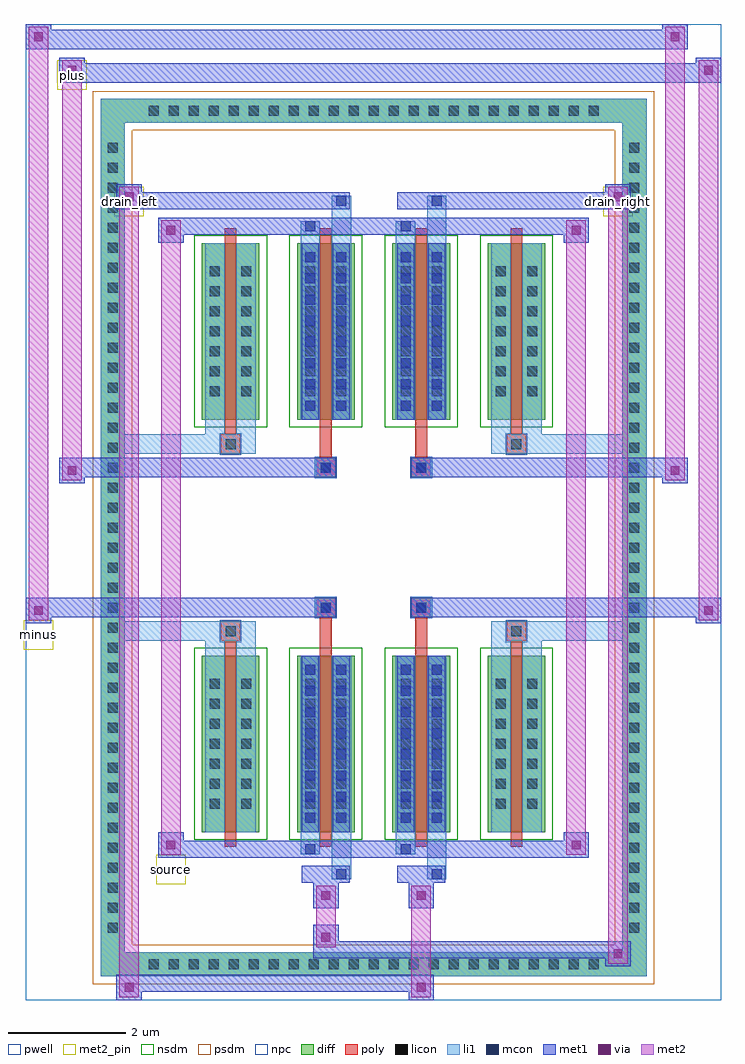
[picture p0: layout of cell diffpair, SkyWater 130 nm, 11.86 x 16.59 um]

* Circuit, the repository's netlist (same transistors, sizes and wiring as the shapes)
* NGSPICE file created from diffpair.ext - technology: sky130A

.subckt diffpair minus drain_right drain_left source plus
X0 drain_right minus source a_n928_n1492# sky130_fd_pr__nfet_01v8 ad=1.17 pd=6.78 as=1.17 ps=6.78 w=3 l=0.2
X1 drain_right minus source a_n928_n1492# sky130_fd_pr__nfet_01v8 ad=1.17 pd=6.78 as=1.17 ps=6.78 w=3 l=0.2
X2 a_n928_n1492# a_n928_n1492# a_n928_n1492# a_n928_n1492# sky130_fd_pr__nfet_01v8 ad=1.17 pd=6.78 as=9.36 ps=54.24 w=3 l=0.2
X3 a_n928_n1492# a_n928_n1492# a_n928_n1492# a_n928_n1492# sky130_fd_pr__nfet_01v8 ad=1.17 pd=6.78 as=0 ps=0 w=3 l=0.2
X4 a_n928_n1492# a_n928_n1492# a_n928_n1492# a_n928_n1492# sky130_fd_pr__nfet_01v8 ad=1.17 pd=6.78 as=0 ps=0 w=3 l=0.2
X5 drain_left plus source a_n928_n1492# sky130_fd_pr__nfet_01v8 ad=1.17 pd=6.78 as=1.17 ps=6.78 w=3 l=0.2
X6 a_n928_n1492# a_n928_n1492# a_n928_n1492# a_n928_n1492# sky130_fd_pr__nfet_01v8 ad=1.17 pd=6.78 as=0 ps=0 w=3 l=0.2
X7 drain_left plus source a_n928_n1492# sky130_fd_pr__nfet_01v8 ad=1.17 pd=6.78 as=1.17 ps=6.78 w=3 l=0.2
.ends

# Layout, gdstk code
import gdstk
lib = gdstk.Library(unit=1e-6, precision=5e-09)
def R(c, l, rs):  # rectangles x0, y0, x1, y1
    for r in rs: c.add(gdstk.rectangle(r[:2], r[2:], *l))
def A(c, l, x, y, w, h, nx, ny, dx, dy):  # array of equal rectangles
    R(c, l, [(x+i*dx, y+j*dy, x+i*dx+w, y+j*dy+h) for i in range(nx) for j in range(ny)])
def P(c, l, *ps):  # polygons
    for p in ps: c.add(gdstk.Polygon(p, *l))
pwell = (64, 44)
diff = (65, 20)
poly = (66, 20)
licon = (66, 44)
li1 = (67, 20)
mcon = (67, 44)
met1 = (68, 20)
via = (68, 44)
met2_pin = (69, 16)
met2 = (69, 20)
nsdm = (93, 44)
psdm = (94, 20)
npc = (95, 20)

diffpair = lib.new_cell('diffpair')
R(diffpair, pwell, [(-5.91,-7.86,5.91,8.73), (-3.23,-6.05,-0.01,-0.825), (0.01,-6.05,3.23,-0.825), (-3.23,0.825,-0.01,6.05), (0.01,0.825,3.23,6.05)])
A(diffpair, diff, -3.945, -7.46, 0.41, 0.41, 23, 2, 0.34, 14.51)
A(diffpair, diff, -4.64, -6.835, 0.41, 0.41, 1, 40, 0, 0.34)
A(diffpair, diff, 4.23, -6.835, 0.41, 0.41, 1, 40, 0, 0.34)
A(diffpair, diff, -2.92, -5.005, 0.98, 3, 4, 2, 1.62, 7.01)
R(diffpair, diff, [(-3.945,-7.46,3.945,-7.05), (-4.64,-6.835,-4.23,6.835), (4.23,-6.835,4.64,6.835), (-3.945,7.05,3.945,7.46)])
P(diffpair, diff, [(4.64,7.46),(-4.64,7.46),(-4.64,-7.05),(-4.23,-7.05),(-4.23,7.05),(4.23,7.05),(4.23,-7.05),(-4.23,-7.05),(-4.64,-7.05),(-4.64,-7.46),(4.64,-7.46)])
A(diffpair, poly, -2.53, -5.255, 0.2, 3.5, 4, 2, 1.62, 7.01)
R(diffpair, poly, [(-2.595,-1.755,-2.265,-1.425), (-2.595,-1.755,-2.265,-1.425), (-0.91,-1.755,-0.71,-1.355), (0.71,-1.755,0.91,-1.355), (2.265,-1.755,2.595,-1.425), (2.265,-1.755,2.595,-1.425), (-0.975,-1.355,-0.645,-1.025), (-0.975,-1.355,-0.645,-1.025), (0.645,-1.355,0.975,-1.025), (0.645,-1.355,0.975,-1.025), (-0.975,1.025,-0.645,1.355), (-0.975,1.025,-0.645,1.355), (0.645,1.025,0.975,1.355), (0.645,1.025,0.975,1.355), (-0.91,1.355,-0.71,1.755), (0.71,1.355,0.91,1.755), (-2.595,1.425,-2.265,1.755), (-2.595,1.425,-2.265,1.755), (2.265,1.425,2.595,1.755), (2.265,1.425,2.595,1.755)])
A(diffpair, licon, -3.825, -7.34, 0.17, 0.17, 23, 2, 0.34, 14.51)
A(diffpair, licon, -4.52, -6.715, 0.17, 0.17, 1, 40, 0, 0.34)
A(diffpair, licon, 4.35, -6.715, 0.17, 0.17, 1, 40, 0, 0.34)
A(diffpair, licon, -2.78, -4.61, 0.17, 0.17, 1, 7, 0, 0.34)
A(diffpair, licon, -2.25, -4.61, 0.17, 0.17, 1, 7, 0, 0.34)
A(diffpair, licon, -1.16, -4.61, 0.17, 0.17, 1, 7, 0, 0.34)
A(diffpair, licon, -0.63, -4.61, 0.17, 0.17, 1, 7, 0, 0.34)
A(diffpair, licon, 0.46, -4.61, 0.17, 0.17, 1, 7, 0, 0.34)
A(diffpair, licon, 0.99, -4.61, 0.17, 0.17, 1, 7, 0, 0.34)
A(diffpair, licon, 2.08, -4.61, 0.17, 0.17, 1, 7, 0, 0.34)
A(diffpair, licon, 2.61, -4.61, 0.17, 0.17, 1, 7, 0, 0.34)
A(diffpair, licon, -2.78, 2.4, 0.17, 0.17, 1, 7, 0, 0.34)
A(diffpair, licon, -2.25, 2.4, 0.17, 0.17, 1, 7, 0, 0.34)
A(diffpair, licon, -1.16, 2.4, 0.17, 0.17, 1, 7, 0, 0.34)
A(diffpair, licon, -0.63, 2.4, 0.17, 0.17, 1, 7, 0, 0.34)
A(diffpair, licon, 0.46, 2.4, 0.17, 0.17, 1, 7, 0, 0.34)
A(diffpair, licon, 0.99, 2.4, 0.17, 0.17, 1, 7, 0, 0.34)
A(diffpair, licon, 2.08, 2.4, 0.17, 0.17, 1, 7, 0, 0.34)
A(diffpair, licon, 2.61, 2.4, 0.17, 0.17, 1, 7, 0, 0.34)
R(diffpair, licon, [(-2.515,-1.675,-2.345,-1.505), (2.345,-1.675,2.515,-1.505), (-0.895,-1.275,-0.725,-1.105), (0.725,-1.275,0.895,-1.105), (-0.895,1.105,-0.725,1.275), (0.725,1.105,0.895,1.275), (-2.515,1.505,-2.345,1.675), (2.345,1.505,2.515,1.675)])
A(diffpair, li1, -3.905, -7.42, 0.33, 0.33, 23, 2, 0.34, 14.51)
A(diffpair, li1, -4.6, -6.795, 0.33, 0.33, 1, 40, 0, 0.34)
A(diffpair, li1, 4.27, -6.795, 0.33, 0.33, 1, 40, 0, 0.34)
A(diffpair, li1, -1.16, -4.85, 0.17, 0.17, 1, 8, 0, 0.36)
A(diffpair, li1, -0.63, -4.85, 0.17, 0.17, 1, 8, 0, 0.36)
A(diffpair, li1, 0.46, -4.85, 0.17, 0.17, 1, 8, 0, 0.36)
A(diffpair, li1, 0.99, -4.85, 0.17, 0.17, 1, 8, 0, 0.36)
A(diffpair, li1, -2.86, -4.69, 0.33, 0.33, 1, 7, 0, 0.34)
A(diffpair, li1, -2.33, -4.69, 0.33, 0.33, 1, 7, 0, 0.34)
A(diffpair, li1, -1.24, -4.69, 0.33, 0.33, 1, 7, 0, 0.34)
A(diffpair, li1, -0.71, -4.69, 0.33, 0.33, 1, 7, 0, 0.34)
A(diffpair, li1, 0.38, -4.69, 0.33, 0.33, 1, 7, 0, 0.34)
A(diffpair, li1, 0.91, -4.69, 0.33, 0.33, 1, 7, 0, 0.34)
A(diffpair, li1, 2, -4.69, 0.33, 0.33, 1, 7, 0, 0.34)
A(diffpair, li1, 2.53, -4.69, 0.33, 0.33, 1, 7, 0, 0.34)
A(diffpair, li1, -1.16, 2.16, 0.17, 0.17, 1, 8, 0, 0.36)
A(diffpair, li1, -0.63, 2.16, 0.17, 0.17, 1, 8, 0, 0.36)
A(diffpair, li1, 0.46, 2.16, 0.17, 0.17, 1, 8, 0, 0.36)
A(diffpair, li1, 0.99, 2.16, 0.17, 0.17, 1, 8, 0, 0.36)
A(diffpair, li1, -2.86, 2.32, 0.33, 0.33, 1, 7, 0, 0.34)
A(diffpair, li1, -2.33, 2.32, 0.33, 0.33, 1, 7, 0, 0.34)
A(diffpair, li1, -1.24, 2.32, 0.33, 0.33, 1, 7, 0, 0.34)
A(diffpair, li1, -0.71, 2.32, 0.33, 0.33, 1, 7, 0, 0.34)
A(diffpair, li1, 0.38, 2.32, 0.33, 0.33, 1, 7, 0, 0.34)
A(diffpair, li1, 0.91, 2.32, 0.33, 0.33, 1, 7, 0, 0.34)
A(diffpair, li1, 2, 2.32, 0.33, 0.33, 1, 7, 0, 0.34)
A(diffpair, li1, 2.53, 2.32, 0.33, 0.33, 1, 7, 0, 0.34)
R(diffpair, li1, [(-4.64,-7.46,-4.23,-7.05), (-4.64,-7.46,-4.23,-7.05), (-4.23,-7.46,4.23,-7.05), (4.23,-7.46,4.64,-7.05), (4.23,-7.46,4.64,-7.05), (-4.64,-7.05,-4.23,7.05), (4.23,-7.05,4.64,7.05), (-0.71,-5.81,-0.38,-5.005), (-0.63,-5.81,-0.46,-5.64), (0.91,-5.81,1.24,-5.005), (0.99,-5.81,1.16,-5.64), (-1.24,-5.38,-0.91,-5.005), (-1.16,-5.38,-0.99,-5.21), (0.38,-5.38,0.71,-5.005), (0.46,-5.38,0.63,-5.21), (-2.86,-5.005,-2.53,-2.005), (-2.33,-5.005,-2,-2.005), (-1.24,-5.005,-0.91,-2.005), (-0.71,-5.005,-0.38,-2.005), (0.38,-5.005,0.71,-2.005), (0.91,-5.005,1.24,-2.005), (2,-5.005,2.33,-2.005), (2.53,-5.005,2.86,-2.005), (-1.16,-4.85,-0.99,-2.16), (-0.63,-4.85,-0.46,-2.16), (0.46,-4.85,0.63,-2.16), (0.99,-4.85,1.16,-2.16), (-2.86,-2.005,-2.53,-1.425), (-2.33,-2.005,-2,-1.425), (2,-2.005,2.33,-1.425), (2.53,-2.005,2.86,-1.425), (-4.64,-1.755,-2.595,-1.425), (-2.86,-1.755,-2.595,-1.425), (-2.595,-1.755,-2.265,-1.425), (-2.265,-1.755,-2,-1.425), (2,-1.755,2.265,-1.425), (2.265,-1.755,2.595,-1.425), (2.265,-1.755,4.64,-1.425), (2.595,-1.755,2.86,-1.425), (-0.975,-1.355,-0.645,-1.025), (0.645,-1.355,0.975,-1.025), (-0.975,1.025,-0.645,1.355), (0.645,1.025,0.975,1.355), (-4.64,1.425,-2.595,1.755), (-2.86,1.425,-2.595,1.755), (-2.86,1.425,-2.53,2.005), (-2.595,1.425,-2.265,1.755), (-2.33,1.425,-2,2.005), (-2.265,1.425,-2,1.755), (2,1.425,2.265,1.755), (2,1.425,2.33,2.005), (2.265,1.425,2.595,1.755), (2.265,1.425,4.64,1.755), (2.53,1.425,2.86,2.005), (2.595,1.425,2.86,1.755), (-2.86,2.005,-2.53,5.005), (-2.33,2.005,-2,5.005), (-1.24,2.005,-0.91,5.005), (-0.71,2.005,-0.38,5.005), (0.38,2.005,0.71,5.005), (0.91,2.005,1.24,5.005), (2,2.005,2.33,5.005), (2.53,2.005,2.86,5.005), (-1.16,2.16,-0.99,4.85), (-0.63,2.16,-0.46,4.85), (0.46,2.16,0.63,4.85), (0.99,2.16,1.16,4.85), (-1.24,5.005,-0.91,5.38), (-0.71,5.005,-0.38,5.81), (0.38,5.005,0.71,5.38), (0.91,5.005,1.24,5.81), (-1.16,5.21,-0.99,5.38), (0.46,5.21,0.63,5.38), (-0.63,5.64,-0.46,5.81), (0.99,5.64,1.16,5.81), (-4.64,7.05,-4.23,7.46), (-4.64,7.05,-4.23,7.46), (-4.23,7.05,4.23,7.46), (4.23,7.05,4.64,7.46), (4.23,7.05,4.64,7.46)])
A(diffpair, mcon, -1.16, -4.85, 0.17, 0.17, 1, 8, 0, 0.36)
A(diffpair, mcon, -0.63, -4.85, 0.17, 0.17, 1, 8, 0, 0.36)
A(diffpair, mcon, 0.46, -4.85, 0.17, 0.17, 1, 8, 0, 0.36)
A(diffpair, mcon, 0.99, -4.85, 0.17, 0.17, 1, 8, 0, 0.36)
A(diffpair, mcon, -1.16, 2.16, 0.17, 0.17, 1, 8, 0, 0.36)
A(diffpair, mcon, -0.63, 2.16, 0.17, 0.17, 1, 8, 0, 0.36)
A(diffpair, mcon, 0.46, 2.16, 0.17, 0.17, 1, 8, 0, 0.36)
A(diffpair, mcon, 0.99, 2.16, 0.17, 0.17, 1, 8, 0, 0.36)
R(diffpair, mcon, [(-0.63,-5.81,-0.46,-5.64), (0.99,-5.81,1.16,-5.64), (-1.16,-5.38,-0.99,-5.21), (0.46,-5.38,0.63,-5.21), (-0.895,-1.275,-0.725,-1.105), (0.725,-1.275,0.895,-1.105), (-0.895,1.105,-0.725,1.275), (0.725,1.105,0.895,1.275), (-1.16,5.21,-0.99,5.38), (0.46,5.21,0.63,5.38), (-0.63,5.64,-0.46,5.81), (0.99,5.64,1.16,5.81)])
A(diffpair, met1, -1.22, -4.91, 0.29, 0.29, 1, 8, 0, 0.36)
A(diffpair, met1, -0.69, -4.91, 0.29, 0.29, 1, 8, 0, 0.36)
A(diffpair, met1, 0.4, -4.91, 0.29, 0.29, 1, 8, 0, 0.36)
A(diffpair, met1, 0.93, -4.91, 0.29, 0.29, 1, 8, 0, 0.36)
A(diffpair, met1, -1.22, 2.1, 0.29, 0.29, 1, 8, 0, 0.36)
A(diffpair, met1, -0.69, 2.1, 0.29, 0.29, 1, 8, 0, 0.36)
A(diffpair, met1, 0.4, 2.1, 0.29, 0.29, 1, 8, 0, 0.36)
A(diffpair, met1, 0.93, 2.1, 0.29, 0.29, 1, 8, 0, 0.36)
R(diffpair, met1, [(-4.37,-7.86,-3.94,-7.43), (0.595,-7.86,1.025,-7.43), (-4.37,-7.72,1.025,-7.43), (3.94,-7.29,4.37,-6.86), (-1.025,-7.15,4.37,-6.86), (-1.025,-7.01,-0.595,-6.58), (-1.025,-6.3,-0.595,-5.87), (0.595,-6.3,1.025,-5.87), (-1.22,-5.87,-0.4,-5.58), (-0.69,-5.87,-0.4,-5.58), (0.4,-5.87,1.22,-5.58), (0.93,-5.87,1.22,-5.58), (-3.66,-5.44,-3.23,-5.01), (-3.66,-5.44,-1.22,-5.15), (-1.22,-5.44,-0.93,-5.15), (-1.22,-5.44,-0.4,-5.15), (-0.4,-5.44,0.4,-5.15), (0.4,-5.44,0.69,-5.15), (0.4,-5.44,1.22,-5.15), (1.22,-5.44,3.66,-5.15), (3.23,-5.44,3.66,-5.01), (-1.22,-5.005,-0.93,-2.005), (-0.69,-5.005,-0.4,-2.005), (0.4,-5.005,0.69,-2.005), (0.93,-5.005,1.22,-2.005), (-5.91,-1.455,-5.48,-1.025), (5.48,-1.455,5.91,-1.025), (-5.91,-1.355,-0.645,-1.025), (-0.975,-1.355,-0.645,-1.025), (0.645,-1.355,0.975,-1.025), (0.645,-1.355,5.91,-1.025), (-0.955,-1.335,-0.665,-1.045), (0.665,-1.335,0.955,-1.045), (-5.34,0.925,-4.91,1.355), (4.91,0.925,5.34,1.355), (-5.34,1.025,-0.975,1.355), (-0.975,1.025,-0.645,1.355), (0.645,1.025,0.975,1.355), (0.975,1.025,5.34,1.355), (-0.955,1.045,-0.665,1.335), (0.665,1.045,0.955,1.335), (-1.22,2.005,-0.93,5.005), (-0.69,2.005,-0.4,5.005), (0.4,2.005,0.69,5.005), (0.93,2.005,1.22,5.005), (-3.66,5.01,-3.23,5.44), (3.23,5.01,3.66,5.44), (-3.66,5.15,-1.22,5.44), (-1.22,5.15,-0.93,5.44), (-1.22,5.15,-0.4,5.44), (-0.4,5.15,0.4,5.44), (0.4,5.15,0.69,5.44), (0.4,5.15,1.22,5.44), (1.22,5.15,3.66,5.44), (-4.37,5.58,-3.94,6.01), (-4.37,5.58,-1.22,5.87), (-1.22,5.58,-0.4,5.87), (-0.69,5.58,-0.4,5.87), (0.4,5.58,1.22,5.87), (0.93,5.58,1.22,5.87), (1.22,5.58,4.37,5.87), (3.94,5.58,4.37,6.01), (-5.34,7.73,-4.91,8.16), (-5.34,7.73,-3.23,8.06), (-3.23,7.73,3.23,8.06), (3.23,7.73,5.91,8.06), (5.48,7.73,5.91,8.16), (-5.91,8.3,-5.48,8.73), (-5.91,8.3,-3.23,8.63), (-3.23,8.3,3.23,8.63), (3.23,8.3,5.34,8.63), (4.91,8.3,5.34,8.73)])
R(diffpair, via, [(-4.23,-7.72,-4.08,-7.57), (0.735,-7.72,0.885,-7.57), (4.08,-7.15,4.23,-7), (-0.885,-6.87,-0.735,-6.72), (-0.885,-6.16,-0.735,-6.01), (0.735,-6.16,0.885,-6.01), (-3.52,-5.3,-3.37,-5.15), (3.37,-5.3,3.52,-5.15), (-5.77,-1.315,-5.62,-1.165), (5.62,-1.315,5.77,-1.165), (-5.2,1.065,-5.05,1.215), (5.05,1.065,5.2,1.215), (-3.52,5.15,-3.37,5.3), (3.37,5.15,3.52,5.3), (-4.23,5.72,-4.08,5.87), (4.08,5.72,4.23,5.87), (-5.2,7.87,-5.05,8.02), (5.62,7.87,5.77,8.02), (-5.77,8.44,-5.62,8.59), (5.05,8.44,5.2,8.59)])
R(diffpair, met2_pin, [(-3.695,-5.89,-3.195,-5.39), (-5.945,-1.905,-5.445,-1.405), (-4.405,5.46,-3.905,5.96), (3.905,5.46,4.405,5.96), (-5.375,7.61,-4.875,8.11)])
R(diffpair, met2, [(-4.32,-7.81,-3.99,-7.48), (-4.32,-7.81,-3.99,5.96), (0.645,-7.81,0.975,-7.48), (0.645,-7.48,0.975,-6.25), (3.99,-7.24,4.32,-6.91), (3.99,-7.24,4.32,5.96), (-0.975,-6.96,-0.645,-6.63), (-0.975,-6.63,-0.645,-6.25), (-0.975,-6.25,-0.645,-5.92), (0.645,-6.25,0.975,-5.92), (-3.61,-5.39,-3.28,-5.06), (-3.61,-5.39,-3.28,5.39), (3.28,-5.39,3.61,-5.06), (3.28,-5.39,3.61,5.39), (-5.86,-1.405,-5.53,-1.075), (-5.86,-1.405,-5.53,8.68), (5.53,-1.405,5.86,-1.075), (5.53,-1.405,5.86,8.11), (-5.29,0.975,-4.96,1.305), (-5.29,0.975,-4.96,8.11), (4.96,0.975,5.29,1.305), (4.96,0.975,5.29,8.68), (-3.61,5.06,-3.28,5.39), (3.28,5.06,3.61,5.39), (-4.32,5.63,-3.99,5.96), (3.99,5.63,4.32,5.96), (-5.29,7.78,-4.96,8.11), (5.53,7.78,5.86,8.11), (-5.86,8.35,-5.53,8.68), (4.96,8.35,5.29,8.68)])
P(diffpair, met2, [(5.86,-1.405),(5.86,-1.405),(5.86,-1.075),(5.86,-1.075)],
  [(5.86,7.78),(5.86,7.78),(5.86,8.11),(5.86,8.11)],
  [(-5.53,-1.405),(-5.53,-1.405),(-5.53,-1.075),(-5.53,-1.075)],
  [(-5.53,8.35),(-5.53,8.35),(-5.53,8.68),(-5.53,8.68)],
  [(5.29,0.975),(5.29,0.975),(5.29,1.305),(5.29,1.305)],
  [(5.29,8.35),(5.29,8.35),(5.29,8.68),(5.29,8.68)],
  [(-4.96,0.975),(-4.96,0.975),(-4.96,1.305),(-4.96,1.305)],
  [(-4.96,7.78),(-4.96,7.78),(-4.96,8.11),(-4.96,8.11)],
  [(-3.99,-7.81),(-3.99,-7.81),(-3.99,-7.48),(-3.99,-7.48)],
  [(-3.99,5.63),(-3.99,5.63),(-3.99,5.96),(-3.99,5.96)],
  [(4.32,-7.24),(4.32,-7.24),(4.32,-6.91),(4.32,-6.91)],
  [(4.32,5.63),(4.32,5.63),(4.32,5.96),(4.32,5.96)],
  [(-3.28,-5.39),(-3.28,-5.39),(-3.28,-5.06),(-3.28,-5.06)],
  [(-3.28,5.06),(-3.28,5.06),(-3.28,5.39),(-3.28,5.39)],
  [(3.61,-5.39),(3.61,-5.39),(3.61,-5.06),(3.61,-5.06)],
  [(3.61,5.06),(3.61,5.06),(3.61,5.39),(3.61,5.39)])
A(diffpair, nsdm, -3.05, -5.135, 1.24, 3.26, 4, 2, 1.62, 7.01)
P(diffpair, psdm, [(4.77,7.59),(-4.77,7.59),(-4.77,-6.92),(-4.1,-6.92),(-4.1,6.92),(4.1,6.92),(4.1,-6.92),(-4.1,-6.92),(-4.77,-6.92),(-4.77,-7.59),(4.77,-7.59)])
R(diffpair, npc, [(-2.615,-1.775,-2.245,-1.405), (2.245,-1.775,2.615,-1.405), (-0.995,-1.375,-0.625,-1.005), (0.625,-1.375,0.995,-1.005), (-0.995,1.005,-0.625,1.375), (0.625,1.005,0.995,1.375), (-2.615,1.405,-2.245,1.775), (2.245,1.405,2.615,1.775)])
diffpair.add(gdstk.Label('minus', (-5.695,-1.655), layer=69, texttype=5))
diffpair.add(gdstk.Label('drain_right', (4.155,5.71), layer=69, texttype=5))
diffpair.add(gdstk.Label('drain_left', (-4.155,5.71), layer=69, texttype=5))
diffpair.add(gdstk.Label('source', (-3.445,-5.64), layer=69, texttype=5))
diffpair.add(gdstk.Label('plus', (-5.125,7.86), layer=69, texttype=5))

lib.write_gds('diffpair.gds')
